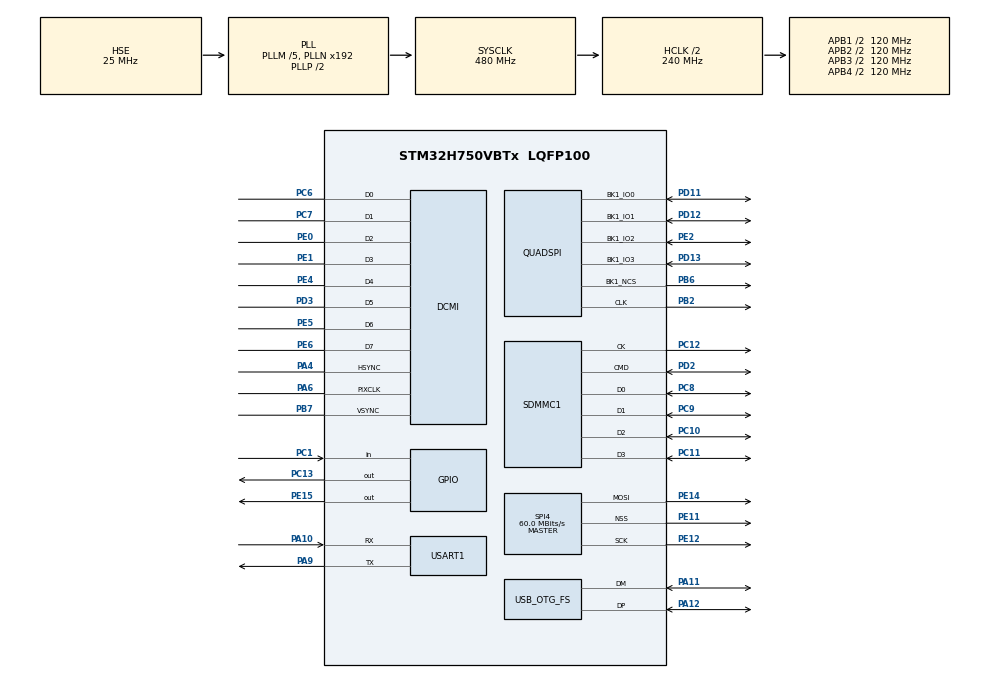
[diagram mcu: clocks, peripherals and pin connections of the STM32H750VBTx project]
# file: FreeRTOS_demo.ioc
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CORTEX_M7.default_mode_Activation=1
Dma.Request0=SPI4_TX
Dma.SPI4_TX.0.Direction=DMA_MEMORY_TO_PERIPH
Dma.SPI4_TX.0.EventEnable=DISABLE
Dma.SPI4_TX.0.FIFOMode=DMA_FIFOMODE_DISABLE
Dma.SPI4_TX.0.Instance=DMA1_Stream0
Dma.SPI4_TX.0.MemDataAlignment=DMA_MDATAALIGN_BYTE
Dma.SPI4_TX.0.MemInc=DMA_MINC_ENABLE
Dma.SPI4_TX.0.Mode=DMA_NORMAL
Dma.SPI4_TX.0.PeriphDataAlignment=DMA_PDATAALIGN_BYTE
Dma.SPI4_TX.0.PeriphInc=DMA_PINC_DISABLE
Dma.SPI4_TX.0.Polarity=HAL_DMAMUX_REQ_GEN_RISING
Dma.SPI4_TX.0.Priority=DMA_PRIORITY_LOW
Dma.SPI4_TX.0.RequestNumber=1
Dma.SPI4_TX.0.SignalID=NONE
Dma.SPI4_TX.0.SyncEnable=DISABLE
Dma.SPI4_TX.0.SyncPolarity=HAL_DMAMUX_SYNC_NO_EVENT
Dma.SPI4_TX.0.SyncRequestNumber=1
Dma.SPI4_TX.0.SyncSignalID=NONE
FREERTOS.Tasks01=defaultTask,0,128,StartDefaultTask,Default,NULL,Dynamic,NULL,NULL
Mcu.Family=STM32H7
Mcu.Name=STM32H750VBTx
Mcu.Package=LQFP100
NVIC.DMA1_Stream0_IRQn=true\:5\:0\:false\:false\:true\:true\:false\:true\:true
NVIC.PriorityGroup=NVIC_PRIORITYGROUP_4
NVIC.SPI4_IRQn=true\:5\:0\:false\:false\:true\:true\:false\:true\:true
NVIC.TIM2_IRQn=true\:5\:0\:false\:false\:true\:true\:true\:true\:true
PA10.Mode=Asynchronous
PA10.Signal=USART1_RX
PA11.Mode=Device_Only
PA11.Signal=USB_OTG_FS_DM
PA12.Mode=Device_Only
PA12.Signal=USB_OTG_FS_DP
PA13\ (JTMS/SWDIO).Mode=Serial_Wire
PA13\ (JTMS/SWDIO).Signal=DEBUG_JTMS-SWDIO
PA14\ (JTCK/SWCLK).Mode=Serial_Wire
PA14\ (JTCK/SWCLK).Signal=DEBUG_JTCK-SWCLK
PA4.Mode=Slave_8_bits_External_Synchro
PA4.Signal=DCMI_HSYNC
PA6.Mode=Slave_8_bits_External_Synchro
PA6.Signal=DCMI_PIXCLK
PA9.Mode=Asynchronous
PA9.Signal=USART1_TX
PB2.Mode=Single Bank 1
PB2.Signal=QUADSPI_CLK
PB6.Mode=Single Bank 1
PB6.Signal=QUADSPI_BK1_NCS
PB7.Mode=Slave_8_bits_External_Synchro
PB7.Signal=DCMI_VSYNC
PC1.Signal=GPIO_Input
PC10.Mode=SD_4_bits_Wide_bus
PC10.Signal=SDMMC1_D2
PC11.Mode=SD_4_bits_Wide_bus
PC11.Signal=SDMMC1_D3
PC12.Mode=SD_4_bits_Wide_bus
PC12.Signal=SDMMC1_CK
PC13.Signal=GPIO_Output
PC14-OSC32_IN\ (OSC32_IN).Mode=LSE-External-Oscillator
PC14-OSC32_IN\ (OSC32_IN).Signal=RCC_OSC32_IN
PC15-OSC32_OUT\ (OSC32_OUT).Mode=LSE-External-Oscillator
PC15-OSC32_OUT\ (OSC32_OUT).Signal=RCC_OSC32_OUT
PC6.Mode=Slave_8_bits_External_Synchro
PC6.Signal=DCMI_D0
PC7.Mode=Slave_8_bits_External_Synchro
PC7.Signal=DCMI_D1
PC8.Mode=SD_4_bits_Wide_bus
PC8.Signal=SDMMC1_D0
PC9.Mode=SD_4_bits_Wide_bus
PC9.Signal=SDMMC1_D1
PD11.Mode=Single Bank 1
PD11.Signal=QUADSPI_BK1_IO0
PD12.Mode=Single Bank 1
PD12.Signal=QUADSPI_BK1_IO1
PD13.Mode=Single Bank 1
PD13.Signal=QUADSPI_BK1_IO3
PD2.Mode=SD_4_bits_Wide_bus
PD2.Signal=SDMMC1_CMD
PD3.Mode=Slave_8_bits_External_Synchro
PD3.Signal=DCMI_D5
PE0.Mode=Slave_8_bits_External_Synchro
PE0.Signal=DCMI_D2
PE1.Mode=Slave_8_bits_External_Synchro
PE1.Signal=DCMI_D3
PE11.Mode=NSS_Signal_Hard_Output
PE11.Signal=SPI4_NSS
PE12.Mode=TX_Only_Simplex_Unidirect_Master
PE12.Signal=SPI4_SCK
PE14.Mode=TX_Only_Simplex_Unidirect_Master
PE14.Signal=SPI4_MOSI
PE15.Signal=GPIO_Output
PE2.Mode=Single Bank 1
PE2.Signal=QUADSPI_BK1_IO2
PE4.Mode=Slave_8_bits_External_Synchro
PE4.Signal=DCMI_D4
PE5.Mode=Slave_8_bits_External_Synchro
PE5.Signal=DCMI_D6
PE6.Mode=Slave_8_bits_External_Synchro
PE6.Signal=DCMI_D7
PH0-OSC_IN\ (PH0).Mode=HSE-External-Oscillator
PH0-OSC_IN\ (PH0).Signal=RCC_OSC_IN
PH1-OSC_OUT\ (PH1).Mode=HSE-External-Oscillator
PH1-OSC_OUT\ (PH1).Signal=RCC_OSC_OUT
ProjectManager.HeapSize=0x200
ProjectManager.StackSize=0x400
ProjectManager.TargetToolchain=MDK-ARM V5.32
RCC.ADCFreq_Value=50390625
RCC.APB1Freq_Value=120000000
RCC.APB2Freq_Value=120000000
RCC.APB3Freq_Value=120000000
RCC.APB4Freq_Value=120000000
RCC.CortexFreq_Value=480000000
RCC.D1PPRE=RCC_APB3_DIV2
RCC.D2PPRE1=RCC_APB1_DIV2
RCC.D2PPRE2=RCC_APB2_DIV2
RCC.D3PPRE=RCC_APB4_DIV2
RCC.DIVM1=5
RCC.DIVM3=5
RCC.DIVN1=192
RCC.DIVQ1=8
RCC.DIVQ3=5
RCC.DIVR1=4
RCC.HCLKFreq_Value=240000000
RCC.HPRE=RCC_HCLK_DIV2
RCC.PLLSourceVirtual=RCC_PLLSOURCE_HSE
RCC.SYSCLKFreq_VALUE=480000000
RCC.SYSCLKSource=RCC_SYSCLKSOURCE_PLLCLK
RCC.USBCLockSelection=RCC_USBCLKSOURCE_HSI48
RCC.USBFreq_Value=48000000
SPI4.BaudRatePrescaler=SPI_BAUDRATEPRESCALER_2
SPI4.CalculateBaudRate=60.0 MBits/s
SPI4.Direction=SPI_DIRECTION_2LINES_TXONLY
SPI4.Mode=SPI_MODE_MASTER
SPI4.VirtualNSS=VM_NSSHARD
SPI4.VirtualType=VM_MASTER
TIM2.Period=100
TIM2.Prescaler=2399
USART1.VirtualMode-Asynchronous=VM_ASYNC
USB_OTG_FS.VirtualMode=Device_Only
VP_FATFS_VS_SDIO.Mode=SDIO
VP_FREERTOS_VS_CMSIS_V1.Mode=CMSIS_V1
VP_MEMORYMAP_VS_MEMORYMAP.Mode=CurAppReg
VP_TIM2_VS_ClockSourceINT.Mode=Internal
board=custom

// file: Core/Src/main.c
/* USER CODE BEGIN Header */
/**
  ******************************************************************************
  * @file           : main.c
  * @brief          : Main program body
  ******************************************************************************
  * @attention
  *
  * Copyright (c) 2025 STMicroelectronics.
  * All rights reserved.
  *
  * This software is licensed under terms that can be found in the LICENSE file
  * in the root directory of this software component.
  * If no LICENSE file comes with this software, it is provided AS-IS.
  *
  ******************************************************************************
  */
/* USER CODE END Header */
#include "main.h"
#include "cmsis_os.h"
#include "dcmi.h"
#include "dma.h"
#include "fatfs.h"
#include "memorymap.h"
#include "quadspi.h"
#include "sdmmc.h"
#include "spi.h"
#include "tim.h"
#include "usart.h"
#include "usb_otg.h"
#include "gpio.h"

/* USER CODE BEGIN Includes */
#include "key.h"
//#include "st7789.h"
#include "lvgl.h"
#include "./src/drivers/display/st7789/lv_st7789.h"
/* USER CODE END Includes */

void SystemClock_Config(void);
static void MPU_Config(void);
void MX_FREERTOS_Init(void);

void ui_init(lv_display_t *disp);

int main(void)
{

  /* MPU Configuration--------------------------------------------------------*/
  //MPU_Config();
	SCB_EnableICache();
  SCB_EnableDCache();
  /* MCU Configuration--------------------------------------------------------*/

  /* Reset of all peripherals, Initializes the Flash interface and the Systick. */
  HAL_Init();

  /* Configure the system clock */
  SystemClock_Config();

  /* USER CODE BEGIN SysInit */
	MX_USART1_UART_Init();
  /* USER CODE END SysInit */

  /* Initialize all configured peripherals */
  MX_GPIO_Init();
  MX_DMA_Init();
  MX_DCMI_Init();
  //MX_QUADSPI_Init();
  MX_SDMMC1_SD_Init();
  MX_SPI4_Init();
  //MX_USB_OTG_FS_PCD_Init();
  //MX_FATFS_Init();
  MX_TIM2_Init();
  HAL_TIM_Base_Start_IT(&htim2);
  /* USER CODE BEGIN 2 */
  KEY_Init();
  //ST7789_Init();
  //ST7789_Test();
	printf("Hardware Initialize finished!\n\r");
  /* USER CODE END 2 */

  /* Call init function for freertos objects (in cmsis_os2.c) */
  MX_FREERTOS_Init();

  /* Start scheduler */
  osKernelStart();

  /* We should never get here as control is now taken by the scheduler */

  /* Infinite loop */
  while (1)
  {

  }
}

void SystemClock_Config(void)
{
  RCC_OscInitTypeDef RCC_OscInitStruct = {0};
  RCC_ClkInitTypeDef RCC_ClkInitStruct = {0};
  RCC_PeriphCLKInitTypeDef PeriphClkInitStruct = {0};
  /** Supply configuration update enable
  */
  HAL_PWREx_ConfigSupply(PWR_LDO_SUPPLY);

  /** Configure the main internal regulator output voltage
  */
  __HAL_PWR_VOLTAGESCALING_CONFIG(PWR_REGULATOR_VOLTAGE_SCALE0);

  while(!__HAL_PWR_GET_FLAG(PWR_FLAG_VOSRDY)) {}

  /** Initializes the RCC Oscillators according to the specified parameters
  * in the RCC_OscInitTypeDef structure.
  */
  RCC_OscInitStruct.OscillatorType = RCC_OSCILLATORTYPE_HSI48|RCC_OSCILLATORTYPE_HSE
                             |RCC_OSCILLATORTYPE_LSE;
 RCC_OscInitStruct.HSEState = RCC_HSE_ON;
 RCC_OscInitStruct.LSEState = RCC_LSE_ON;
 RCC_OscInitStruct.HSI48State = RCC_HSI48_ON;
 RCC_OscInitStruct.PLL.PLLState = RCC_PLL_ON;
 RCC_OscInitStruct.PLL.PLLSource = RCC_PLLSOURCE_HSE;
 RCC_OscInitStruct.PLL.PLLM = 5;
 RCC_OscInitStruct.PLL.PLLN = 192;
 RCC_OscInitStruct.PLL.PLLP = 2;
 RCC_OscInitStruct.PLL.PLLQ = 4;
 RCC_OscInitStruct.PLL.PLLR = 2;
 RCC_OscInitStruct.PLL.PLLRGE = RCC_PLL1VCIRANGE_2;
 RCC_OscInitStruct.PLL.PLLVCOSEL = RCC_PLL1VCOWIDE;
 RCC_OscInitStruct.PLL.PLLFRACN = 0;
 if (HAL_RCC_OscConfig(&RCC_OscInitStruct) != HAL_OK)
 {
   Error_Handler();
 }

  /** Initializes the CPU, AHB and APB buses clocks
  */
  RCC_ClkInitStruct.ClockType = RCC_CLOCKTYPE_HCLK|RCC_CLOCKTYPE_SYSCLK
                              |RCC_CLOCKTYPE_PCLK1|RCC_CLOCKTYPE_PCLK2
                              |RCC_CLOCKTYPE_D3PCLK1|RCC_CLOCKTYPE_D1PCLK1;
  RCC_ClkInitStruct.SYSCLKSource = RCC_SYSCLKSOURCE_PLLCLK;
  RCC_ClkInitStruct.SYSCLKDivider = RCC_SYSCLK_DIV1;
  RCC_ClkInitStruct.AHBCLKDivider = RCC_HCLK_DIV2;
  RCC_ClkInitStruct.APB3CLKDivider = RCC_APB3_DIV2;
  RCC_ClkInitStruct.APB1CLKDivider = RCC_APB1_DIV2;
  RCC_ClkInitStruct.APB2CLKDivider = RCC_APB2_DIV2;
  RCC_ClkInitStruct.APB4CLKDivider = RCC_APB4_DIV2;

  if (HAL_RCC_ClockConfig(&RCC_ClkInitStruct, FLASH_LATENCY_4) != HAL_OK)
  {
    Error_Handler();
  }

  PeriphClkInitStruct.PeriphClockSelection = RCC_PERIPHCLK_USART1|RCC_PERIPHCLK_SDMMC
                                                            |RCC_PERIPHCLK_CKPER;

  PeriphClkInitStruct.Usart16ClockSelection = RCC_USART16CLKSOURCE_D2PCLK2;
  PeriphClkInitStruct.SdmmcClockSelection = RCC_SDMMCCLKSOURCE_PLL;

  if (HAL_RCCEx_PeriphCLKConfig(&PeriphClkInitStruct) != HAL_OK)
  {
    Error_Handler();
  }
}

 /* MPU Configuration */

void MPU_Config(void)
{
  MPU_Region_InitTypeDef MPU_InitStruct = {0};

  /* Disables the MPU */
  HAL_MPU_Disable();

  /** Initializes and configures the Region and the memory to be protected
  */
  MPU_InitStruct.Enable = MPU_REGION_ENABLE;
  MPU_InitStruct.Number = MPU_REGION_NUMBER0;
  MPU_InitStruct.BaseAddress = 0x0;
  MPU_InitStruct.Size = MPU_REGION_SIZE_4GB;
  MPU_InitStruct.SubRegionDisable = 0x87;
  MPU_InitStruct.TypeExtField = MPU_TEX_LEVEL0;
  MPU_InitStruct.AccessPermission = MPU_REGION_NO_ACCESS;
  MPU_InitStruct.DisableExec = MPU_INSTRUCTION_ACCESS_DISABLE;
  MPU_InitStruct.IsShareable = MPU_ACCESS_SHAREABLE;
  MPU_InitStruct.IsCacheable = MPU_ACCESS_NOT_CACHEABLE;
  MPU_InitStruct.IsBufferable = MPU_ACCESS_NOT_BUFFERABLE;

  HAL_MPU_ConfigRegion(&MPU_InitStruct);
  /* Enables the MPU */
  HAL_MPU_Enable(MPU_PRIVILEGED_DEFAULT);

}

void Error_Handler(void)
{
  __disable_irq();
  while (1)
  {
  }
}

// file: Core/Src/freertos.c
/* USER CODE BEGIN Header */
/**
  ******************************************************************************
  * File Name          : freertos.c
  * Description        : Code for freertos applications
  ******************************************************************************
  * @attention
  *
  * Copyright (c) 2025 STMicroelectronics.
  * All rights reserved.
  *
  * This software is licensed under terms that can be found in the LICENSE file
  * in the root directory of this software component.
  * If no LICENSE file comes with this software, it is provided AS-IS.
  *
  ******************************************************************************
  */
/* USER CODE END Header */

#include "FreeRTOS.h"
#include "task.h"
#include "main.h"
#include "cmsis_os.h"

/* USER CODE BEGIN Includes */
#include "key.h"
//#include "st7789.h"
#include "lvgl.h"
#include "./src/drivers/display/st7789/lv_st7789.h"
/* USER CODE END Includes */

/* USER CODE BEGIN Variables */
osThreadId KeyTaskHandle;
osThreadId LedTaskHandle;
osThreadId LcdTaskHandle;
osThreadId LvglTaskHandle;

/* USER CODE END Variables */

/* USER CODE BEGIN FunctionPrototypes */
void LEDTask(void const * argument);
void KeyTask(void const * argument);
void LcdTask(void const * argument);

void LVGL_Task(void const *argument);
/* USER CODE END FunctionPrototypes */

void MX_FREERTOS_Init(void); /* (MISRA C 2004 rule 8.1) */

/* GetIdleTaskMemory prototype (linked to static allocation support) */
void vApplicationGetIdleTaskMemory( StaticTask_t **ppxIdleTaskTCBBuffer, StackType_t **ppxIdleTaskStackBuffer, uint32_t *pulIdleTaskStackSize );

/* USER CODE BEGIN GET_IDLE_TASK_MEMORY */
static StaticTask_t xIdleTaskTCBBuffer;
static StackType_t xIdleStack[configMINIMAL_STACK_SIZE];

void vApplicationGetIdleTaskMemory( StaticTask_t **ppxIdleTaskTCBBuffer, StackType_t **ppxIdleTaskStackBuffer, uint32_t *pulIdleTaskStackSize )
{
  *ppxIdleTaskTCBBuffer = &xIdleTaskTCBBuffer;
  *ppxIdleTaskStackBuffer = &xIdleStack[0];
  *pulIdleTaskStackSize = configMINIMAL_STACK_SIZE;
  /* place for user code */
}
/* USER CODE END GET_IDLE_TASK_MEMORY */

void MX_FREERTOS_Init(void) {

  /* Create the thread(s) */
  /* definition and creation of defaultTask */
  // osThreadDef(ledTask, LEDTask, osPriorityNormal, 0, 128);
  // LedTaskHandle = osThreadCreate(osThread(ledTask), NULL);

  /* USER CODE BEGIN RTOS_THREADS */
  osThreadDef(keyTask, KeyTask, osPriorityNormal, 0, 128);
  KeyTaskHandle = osThreadCreate(osThread(keyTask), NULL);

  //osThreadDef(lcdTask, LcdTask, osPriorityNormal, 0, 128);
  //LcdTaskHandle = osThreadCreate(osThread(lcdTask), NULL);

  osThreadDef(LvglTask, LVGL_Task, osPriorityNormal, 0, 1024);
  LvglTaskHandle = osThreadCreate(osThread(LvglTask), NULL);

  /* USER CODE END RTOS_THREADS */

}

void LEDTask(void const * argument)
{
  /* USER CODE BEGIN StartDefaultTask */
  /* Infinite loop */
  for(;;)
  {
    HAL_GPIO_TogglePin(GPIOC, GPIO_PIN_13);
    osDelay(500);
  }
  /* USER CODE END StartDefaultTask */
}

/* USER CODE BEGIN Application */
/**
  * @brief  Function implementing the KeyTask thread.
  * @param  argument: Not used
  * @retval None
  */
void KeyTask(void const * argument)
{
  /* Infinite loop */
  for(;;)
  {
    uint8_t keyStat = KEY_Scan();
    if(keyStat == KEY_ON) {
      printf("key is pushed!\r\n");
    }
    osDelay(5);
  }
}

void LcdTask(void const * argument)
{
  /* Infinite loop */
  for(;;)
  {
    //ST7789_Test();
    osDelay(2000);
  }
}

/* USER CODE END Application */
